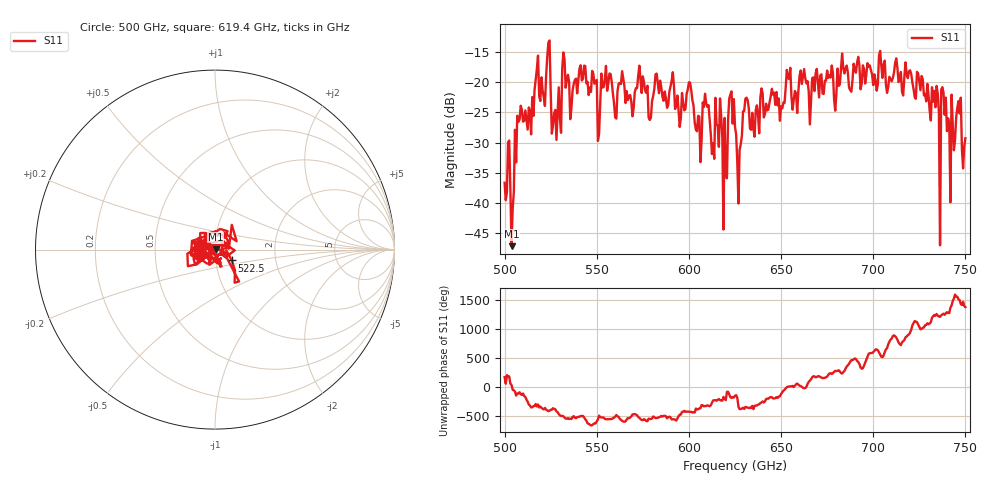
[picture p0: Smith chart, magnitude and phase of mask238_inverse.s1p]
!Created with skrf (http://scikit-rf.org).
# GHz S MA R 50.0
!freq magS11 angS11
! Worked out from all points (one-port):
!   401 points, 500 GHz to 750 GHz, reference 50 ohm
!   lowest |S11| = -47.2 dB at 503.8 GHz (marker M1), VSWR 1.01, Z = 50.4 + j0.255 ohm
!   |S11| at or under -10 dB: start of sweep to end of sweep
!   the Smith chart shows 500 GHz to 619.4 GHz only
!   S11 on the Smith chart (normalised r, x): 500 GHz: 0.97, +0.00; 522.5 GHz: 1.20, -0.15; 619.4 GHz: 0.91, +0.04
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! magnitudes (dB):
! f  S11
! 500 GHz  -36.7
! 503.8 GHz  -47.2
! 508.1 GHz  -26.2
! 522.5 GHz  -19.0
! 523.8 GHz  -13.4
! 526.9 GHz  -25.1
! 531.2 GHz  -17.7
! 562.5 GHz  -20.1
! 593.8 GHz  -22.2
! 600.6 GHz  -20.0
! 605.6 GHz  -25.7
! 609.4 GHz  -23.5
! 612.5 GHz  -31.9
! 616.9 GHz  -22.7
! 619.4 GHz  -25.9
! 622.5 GHz  -22.0
! 625 GHz  -27.4
! 627.5 GHz  -31.2
! 630.6 GHz  -22.7
! 656.2 GHz  -24.5
! 687.5 GHz  -21.3
! 718.8 GHz  -19.3
! 734.4 GHz  -20.6
! 735 GHz  -21.9
! 738.1 GHz  -21.7
! 743.1 GHz  -26.9
! 746.2 GHz  -23.1
! 750 GHz  -29.3
